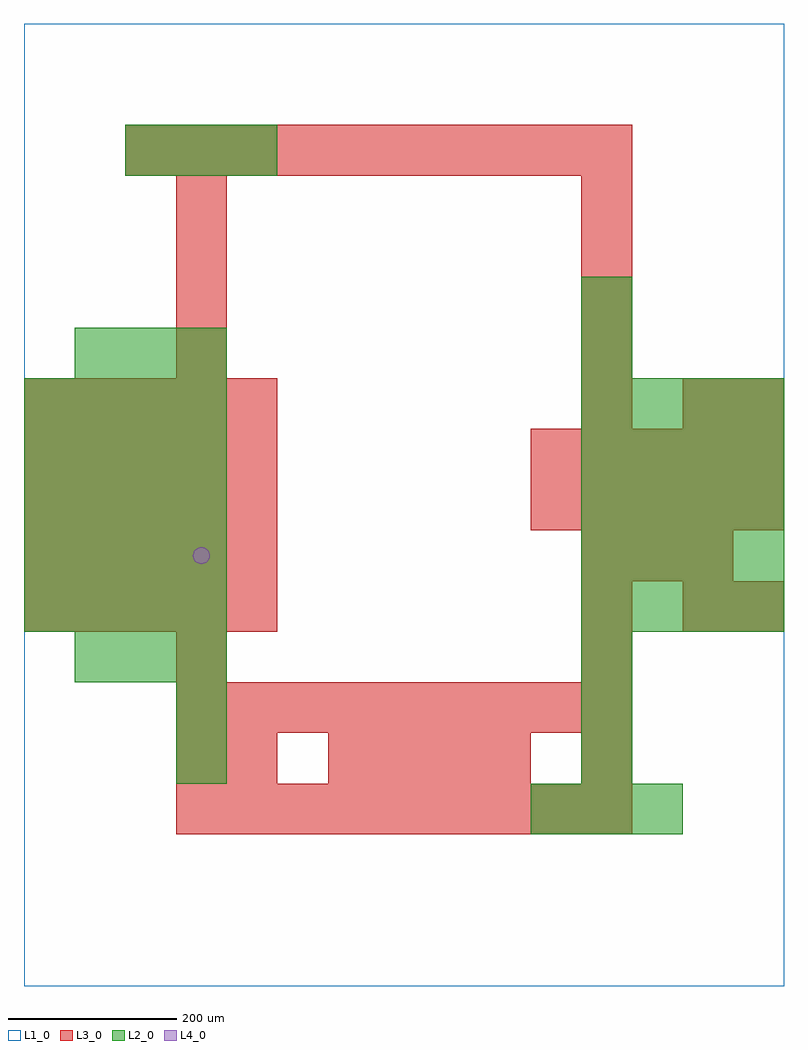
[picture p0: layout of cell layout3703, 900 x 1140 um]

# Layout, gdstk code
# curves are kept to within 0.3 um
import gdstk
lib = gdstk.Library(unit=1e-6, precision=1e-09)
def R(c, l, rs):  # rectangles x0, y0, x1, y1
    for r in rs: c.add(gdstk.rectangle(r[:2], r[2:], *l))
def A(c, l, x, y, w, h, nx, ny, dx, dy):  # array of equal rectangles
    R(c, l, [(x+i*dx, y+j*dy, x+i*dx+w, y+j*dy+h) for i in range(nx) for j in range(ny)])
def P(c, l, *ps):  # polygons
    for p in ps: c.add(gdstk.Polygon(p, *l))
L1_0 = (1, 0)
L2_0 = (2, 0)
L3_0 = (3, 0)
L4_0 = (4, 0)

layout3703 = lib.new_cell('layout3703')
R(layout3703, L1_0, [(0,0,900,1140)])
A(layout3703, L2_0, 600, 180, 60, 60, 3, 1, 60, 0)
A(layout3703, L2_0, 660, 240, 60, 60, 1, 3, 0, 60)
A(layout3703, L2_0, 60, 360, 60, 60, 3, 2, 60, 360)
A(layout3703, L2_0, 0, 420, 60, 60, 4, 5, 60, 60)
A(layout3703, L2_0, 660, 420, 60, 60, 4, 5, 60, 60)
A(layout3703, L2_0, 120, 960, 60, 60, 3, 1, 60, 0)
R(layout3703, L2_0, [(180,240,240,300), (180,300,240,360), (660,720,720,780), (660,780,720,840)])
A(layout3703, L3_0, 180, 180, 60, 60, 9, 2, 60, 120)
A(layout3703, L3_0, 360, 240, 60, 60, 4, 1, 60, 0)
A(layout3703, L3_0, 0, 420, 60, 60, 5, 5, 60, 60)
A(layout3703, L3_0, 660, 480, 60, 60, 3, 1, 60, 0)
A(layout3703, L3_0, 600, 540, 60, 60, 5, 2, 60, 60)
A(layout3703, L3_0, 660, 660, 60, 60, 1, 5, 0, 60)
A(layout3703, L3_0, 180, 720, 60, 60, 1, 4, 0, 60)
A(layout3703, L3_0, 120, 960, 60, 60, 10, 1, 60, 0)
R(layout3703, L3_0, [(180,240,240,300), (240,240,300,300), (660,240,720,300), (180,360,240,420), (660,360,720,420), (660,420,720,480), (780,420,840,480), (840,420,900,480), (780,660,840,720), (840,660,900,720)])
P(layout3703, L4_0, [(220,510),(219.239,513.827),(217.071,517.071),(213.827,519.239),(210,520),(206.173,519.239),(202.929,517.071),(200.761,513.827),(200,510),(200.761,506.173),(202.929,502.929),(206.173,500.761),(210,500),(213.827,500.761),(217.071,502.929),(219.239,506.173)])

lib.write_gds('layout3703.gds')
